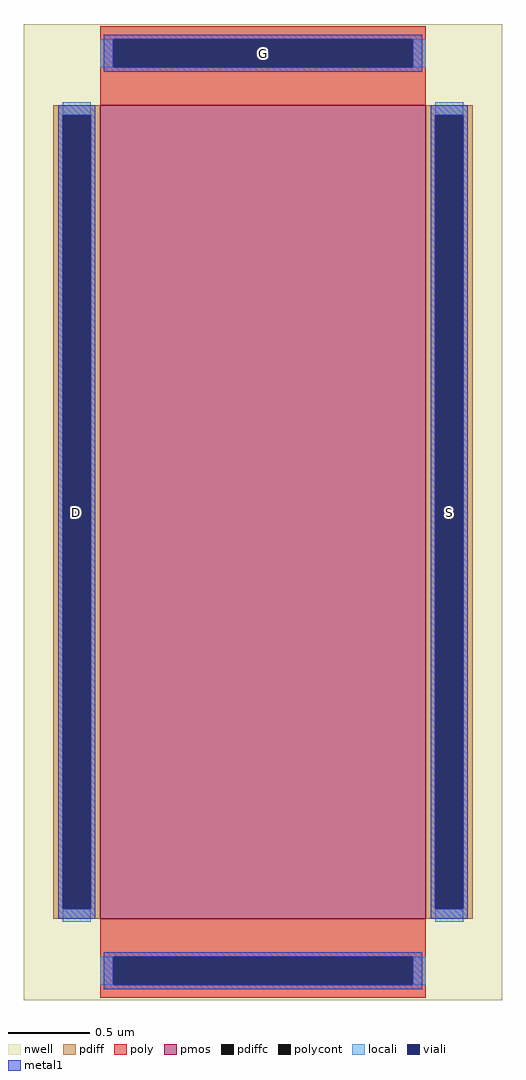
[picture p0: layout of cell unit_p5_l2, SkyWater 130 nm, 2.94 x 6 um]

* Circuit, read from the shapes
.subckt unit_p5_l2 D S G
XM1 S G D n1 sky130_fd_pr__pfet_01v8 w=5 l=2
.ends

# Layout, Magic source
magic
tech sky130A
magscale 1 2
<< nwell >>
rect -294 -600 294 600
<< pmos >>
rect -200 -500 200 500
<< pdiff >>
rect -258 488 -200 500
rect -258 -488 -246 488
rect -212 -488 -200 488
rect -258 -500 -200 -488
rect 200 488 258 500
rect 200 -488 212 488
rect 246 -488 258 488
rect 200 -500 258 -488
<< pdiffc >>
rect -246 -488 -212 488
rect 212 -488 246 488
<< poly >>
rect -200 581 200 597
rect -200 547 -184 581
rect 184 547 200 581
rect -200 500 200 547
rect -200 -547 200 -500
rect -200 -581 -184 -547
rect 184 -581 200 -547
rect -200 -597 200 -581
<< polycont >>
rect -184 547 184 581
rect -184 -581 184 -547
<< locali >>
rect -200 547 -184 581
rect 184 547 200 581
rect -246 488 -212 504
rect -246 -504 -212 -488
rect 212 488 246 504
rect 212 -504 246 -488
rect -200 -581 -184 -547
rect 184 -581 200 -547
<< viali >>
rect -184 547 184 581
rect -246 -488 -212 488
rect 212 -488 246 488
rect -184 -581 184 -547
<< metal1 >>
rect -196 581 196 587
rect -196 547 -184 581
rect 184 547 196 581
rect -196 541 196 547
rect -252 488 -206 500
rect -252 -488 -246 488
rect -212 -488 -206 488
rect -252 -500 -206 -488
rect 206 488 252 500
rect 206 -488 212 488
rect 246 -488 252 488
rect 206 -500 252 -488
rect -196 -547 196 -541
rect -196 -581 -184 -547
rect 184 -581 196 -547
rect -196 -587 196 -581
<< labels >>
rlabel pdiffc -229 0 -229 0 0 D
port 1 nsew
rlabel pdiffc 229 0 229 0 0 S
port 2 nsew
rlabel polycont 0 564 0 564 0 G
port 3 nsew
<< end >>
